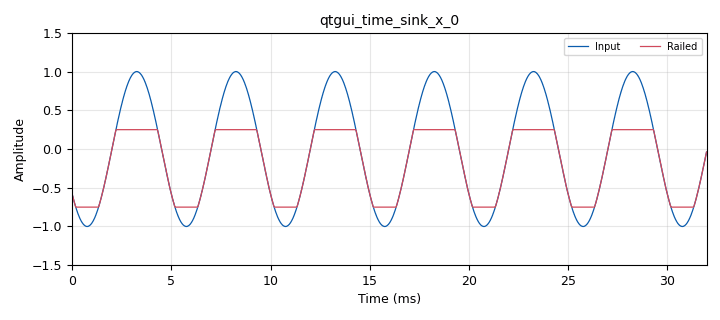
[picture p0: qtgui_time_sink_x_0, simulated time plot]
<?xml version='1.0' encoding='utf-8'?>
<?grc format='1' created='3.7.7'?>
<flow_graph>
<block>
<key>options</key>
<param><key>id</key><value>analog_rail</value></param>
<param><key>generate_options</key><value>qt_gui</value></param>
<param><key>category</key><value>Custom</value></param>
<param><key>run_options</key><value>run</value></param>
</block>
<block>
<key>variable</key>
<param><key>id</key><value>samp_rate</value></param>
<param><key>value</key><value>32000</value></param>
</block>
<block>
<key>blocks_throttle</key>
<param><key>id</key><value>blocks_throttle_0</value></param>
<param><key>type</key><value>float</value></param>
<param><key>samples_per_second</key><value>samp_rate</value></param>
</block>
<block>
<key>analog_sig_source_x</key>
<param><key>id</key><value>analog_sig_source_x_0</value></param>
<param><key>type</key><value>float</value></param>
<param><key>samp_rate</key><value>samp_rate</value></param>
<param><key>waveform</key><value>analog.GR_SIN_WAVE</value></param>
<param><key>freq</key><value>200</value></param>
<param><key>amp</key><value>1</value></param>
<param><key>offset</key><value>0</value></param>
</block>
<block>
<key>analog_rail_ff</key>
<param><key>id</key><value>analog_rail_ff_0</value></param>
<param><key>lo</key><value>lo</value></param>
<param><key>hi</key><value>hi</value></param>
</block>
<block>
<key>variable_qtgui_range</key>
<param><key>id</key><value>hi</value></param>
<param><key>label</key><value>High</value></param>
<param><key>value</key><value>0.25</value></param>
<param><key>start</key><value>0</value></param>
<param><key>stop</key><value>1</value></param>
<param><key>step</key><value>0.05</value></param>
<param><key>orient</key><value>Qt.Horizontal</value></param>
<param><key>gui_hint</key><value>1,0,1,1</value></param>
</block>
<block>
<key>variable_qtgui_range</key>
<param><key>id</key><value>lo</value></param>
<param><key>label</key><value>Low</value></param>
<param><key>value</key><value>-0.75</value></param>
<param><key>start</key><value>-1.0</value></param>
<param><key>stop</key><value>0</value></param>
<param><key>step</key><value>0.05</value></param>
<param><key>orient</key><value>Qt.Horizontal</value></param>
<param><key>gui_hint</key><value>1,1,1,1</value></param>
</block>
<block>
<key>qtgui_time_sink_x</key>
<param><key>id</key><value>qtgui_time_sink_x_0</value></param>
<param><key>type</key><value>float</value></param>
<param><key>name</key><value></value></param>
<param><key>size</key><value>1024</value></param>
<param><key>srate</key><value>samp_rate</value></param>
<param><key>ymin</key><value>-1.5</value></param>
<param><key>ymax</key><value>1.5</value></param>
<param><key>nconnections</key><value>2</value></param>
<param><key>gui_hint</key><value>0,0,1,2</value></param>
<param><key>label1</key><value>Input</value></param>
<param><key>color1</key><value>"blue"</value></param>
<param><key>label2</key><value>Railed</value></param>
<param><key>color2</key><value>"red"</value></param>
</block>
<connection><source_block_id>analog_sig_source_x_0</source_block_id><sink_block_id>blocks_throttle_0</sink_block_id><source_key>0</source_key><sink_key>0</sink_key></connection>
<connection><source_block_id>blocks_throttle_0</source_block_id><sink_block_id>analog_rail_ff_0</sink_block_id><source_key>0</source_key><sink_key>0</sink_key></connection>
<connection><source_block_id>blocks_throttle_0</source_block_id><sink_block_id>qtgui_time_sink_x_0</sink_block_id><source_key>0</source_key><sink_key>0</sink_key></connection>
<connection><source_block_id>analog_rail_ff_0</source_block_id><sink_block_id>qtgui_time_sink_x_0</sink_block_id><source_key>0</source_key><sink_key>1</sink_key></connection>
</flow_graph>
